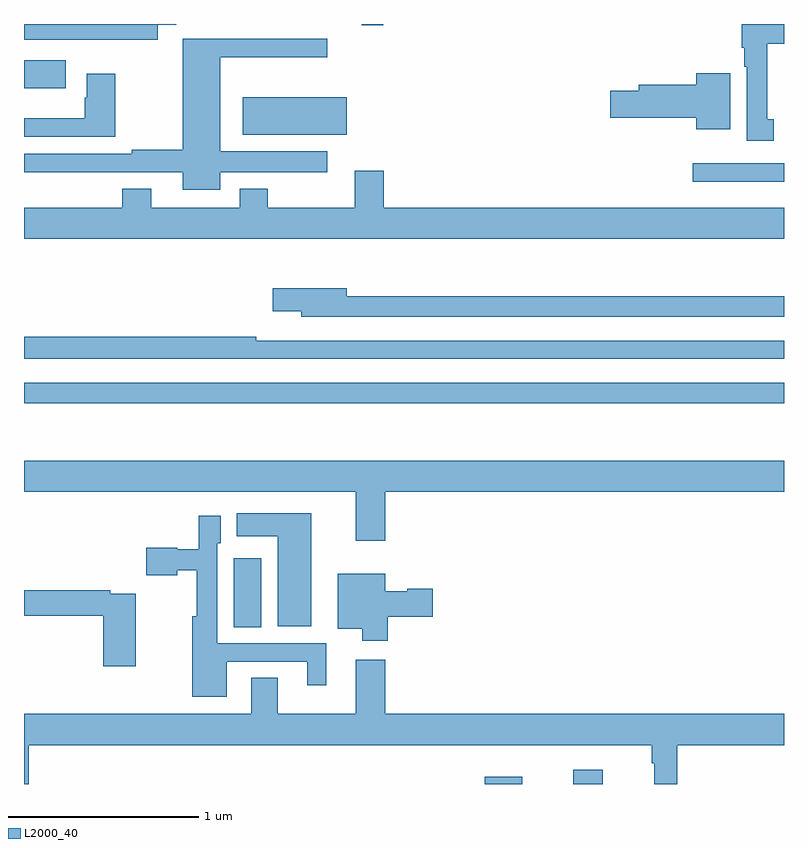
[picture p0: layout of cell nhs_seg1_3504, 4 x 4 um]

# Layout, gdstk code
import gdstk
lib = gdstk.Library(unit=1e-6, precision=1e-09)
def R(c, l, rs):  # rectangles x0, y0, x1, y1
    for r in rs: c.add(gdstk.rectangle(r[:2], r[2:], *l))
def P(c, l, *ps):  # polygons
    for p in ps: c.add(gdstk.Polygon(p, *l))
L2000_40 = (2000, 40)

nhs_seg1_3504 = lib.new_cell('nhs_seg1_3504')
R(nhs_seg1_3504, L2000_40, [(303.424,546.199,303.622,546.238), (303.89,546.199,304.045,546.274), (302.105,547.024,302.248,547.387), (301,548.202,305,548.31), (304.521,549.368,305,549.465), (302.15,549.617,302.698,549.814), (301,549.86,301.219,550.009), (302.777,550.192,302.89,550.199)])
P(nhs_seg1_3504, L2000_40, [(304.945,549.698),(304.912,549.698),(304.912,550.094),(305,550.094),(305,550.199),(304.778,550.199),(304.778,550.074),(304.79,550.074),(304.79,549.974),(304.805,549.974),(304.805,549.585),(304.945,549.585)],
  [(301.705,550.196),(301.801,550.196),(301.801,550.199),(301,550.199),(301,550.116),(301.306,550.116),(301.306,550.115),(301.705,550.115)],
  [(302.032,549.419),(302.596,549.419),(302.596,549.529),(302.032,549.529),(302.032,550.025),(302.596,550.025),(302.596,550.122),(301.836,550.122),(301.836,550.019),(301.835,550.019),(301.835,549.536),(301.567,549.536),(301.567,549.516),(301,549.516),(301,549.419),(301.433,549.419),(301.433,549.42),(301.835,549.42),(301.835,549.326),(302.032,549.326)],
  [(304.717,549.94),(304.538,549.94),(304.538,549.878),(304.235,549.878),(304.235,549.848),(304.086,549.848),(304.086,549.706),(304.538,549.706),(304.538,549.644),(304.717,549.644)],
  [(301.479,549.937),(301.331,549.937),(301.331,549.812),(301.319,549.812),(301.319,549.703),(301,549.703),(301,549.606),(301.479,549.606)],
  [(305,549.232),(302.894,549.232),(302.894,549.427),(302.741,549.427),(302.741,549.232),(302.283,549.232),(302.283,549.331),(302.135,549.331),(302.135,549.232),(301.669,549.232),(301.669,549.331),(301.517,549.331),(301.517,549.232),(301,549.232),(301,549.068),(305,549.068)],
  [(305,548.767),(302.698,548.767),(302.698,548.809),(302.31,548.809),(302.31,548.687),(302.459,548.687),(302.459,548.658),(305,548.658)],
  [(305,548.532),(302.222,548.532),(302.222,548.552),(301,548.552),(301,548.436),(305,548.436)],
  [(302.9,547.736),(305,547.736),(305,547.9),(301,547.9),(301,547.736),(302.747,547.736),(302.747,547.479),(302.9,547.479)],
  [(302.512,547.624),(302.12,547.624),(302.12,547.502),(302.336,547.502),(302.336,547.028),(302.512,547.028)],
  [(302.068,546.843),(302.492,546.843),(302.492,546.72),(302.59,546.72),(302.59,546.939),(302.016,546.939),(302.016,547.467),(302.035,547.467),(302.035,547.612),(301.92,547.612),(301.92,547.435),(301.806,547.435),(301.806,547.443),(301.644,547.443),(301.644,547.298),(301.806,547.298),(301.806,547.324),(301.908,547.324),(301.908,547.081),(301.886,547.081),(301.886,546.659),(302.068,546.659)],
  [(302.915,547.079),(303.151,547.079),(303.151,547.226),(303.018,547.226),(303.018,547.213),(302.902,547.213),(302.902,547.306),(302.651,547.306),(302.651,547.016),(302.78,547.016),(302.78,546.954),(302.915,546.954)],
  [(301.588,547.2),(301.454,547.2),(301.454,547.22),(301,547.22),(301,547.084),(301.418,547.084),(301.418,546.819),(301.588,546.819)],
  [(301.025,546.404),(304.303,546.404),(304.303,546.308),(304.318,546.308),(304.318,546.199),(304.439,546.199),(304.439,546.404),(305,546.404),(305,546.568),(302.9,546.568),(302.9,546.853),(302.747,546.853),(302.747,546.568),(302.335,546.568),(302.335,546.758),(302.195,546.758),(302.195,546.568),(301,546.568),(301,546.199),(301.025,546.199)])

lib.write_gds('nhs_seg1_3504.gds')
